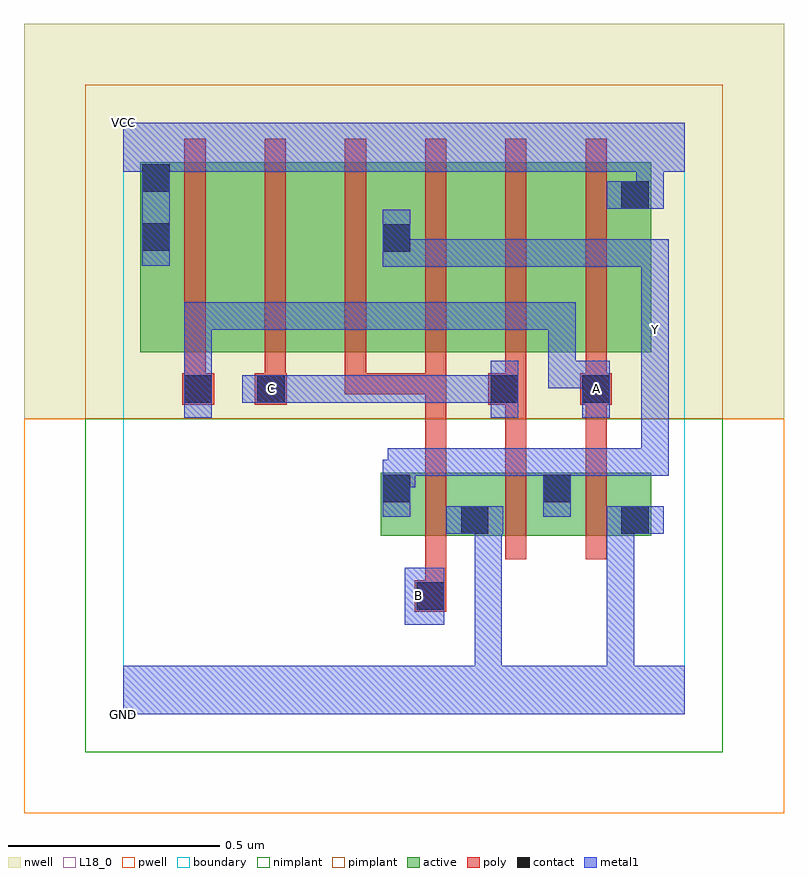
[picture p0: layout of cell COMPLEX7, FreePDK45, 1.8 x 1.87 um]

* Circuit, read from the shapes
.subckt COMPLEX7 A B C GND VCC Y
M1 GND B Y VSUBS nfet w=0.15u l=0.05u
M2 Y C GND VSUBS nfet w=0.15u l=0.05u
M3 GND A Y VSUBS nfet w=0.15u l=0.05u
M4 n1 A VCC n2 pfet w=0.45u l=0.05u
M5 n3 C n1 n2 pfet w=0.45u l=0.05u
M6 Y B n3 n2 pfet w=0.45u l=0.05u
M7 n4 B Y n2 pfet w=0.45u l=0.05u
M8 n5 C n4 n2 pfet w=0.45u l=0.05u
M9 VCC A n5 n2 pfet w=0.45u l=0.05u
.ends

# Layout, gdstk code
import gdstk
lib = gdstk.Library(unit=1e-6, precision=1e-09)
def R(c, l, rs):  # rectangles x0, y0, x1, y1
    for r in rs: c.add(gdstk.rectangle(r[:2], r[2:], *l))
def A(c, l, x, y, w, h, nx, ny, dx, dy):  # array of equal rectangles
    R(c, l, [(x+i*dx, y+j*dy, x+i*dx+w, y+j*dy+h) for i in range(nx) for j in range(ny)])
active = (1, 0)
pwell = (2, 0)
nwell = (3, 0)
nimplant = (4, 0)
pimplant = (5, 0)
poly = (9, 0)
contact = (10, 0)
metal1 = (11, 0)
L18_0 = (18, 0)
boundary = (235, 0)

complex7 = lib.new_cell('COMPLEX7')
R(complex7, active, [(0.61,0.422,0.685,0.572), (0.61,0.422,0.87,0.572), (0.795,0.422,1.065,0.572), (0.795,0.422,0.87,0.497), (0.99,0.422,1.065,0.572), (0.99,0.422,1.25,0.572), (1.175,0.422,1.25,0.572), (0.04,0.857,0.115,1.307), (0.04,0.857,0.265,1.307), (0.265,0.857,0.455,1.307), (0.455,0.857,0.685,1.307), (0.61,0.857,0.835,1.307), (0.61,0.857,0.685,1.2), (0.835,0.857,1.025,1.307), (1.025,0.857,1.25,1.307), (1.175,0.857,1.25,1.307)])
R(complex7, pwell, [(-0.235,-0.235,1.565,0.7)])
R(complex7, nwell, [(-0.235,0.7,1.565,1.635)])
R(complex7, nimplant, [(-0.09,-0.09,1.42,0.7)])
R(complex7, pimplant, [(-0.09,0.7,1.42,1.49)])
A(complex7, poly, 0.715, 0.367, 0.05, 0.26, 3, 1, 0.19, 0)
A(complex7, poly, 0.145, 0.757, 0.05, 0.095, 6, 1, 0.19, 0)
A(complex7, poly, 0.145, 0.802, 0.05, 0.56, 6, 1, 0.19, 0)
R(complex7, poly, [(0.69,0.242,0.765,0.317), (0.715,0.267,0.765,0.417), (0.715,0.577,0.765,0.807), (0.905,0.577,0.955,0.782), (1.095,0.577,1.145,0.782), (0.14,0.732,0.215,0.807), (0.312,0.732,0.387,0.807), (0.865,0.732,0.955,0.807), (1.082,0.732,1.157,0.807), (0.525,0.757,0.765,0.807), (0.525,0.757,0.575,0.807), (0.525,0.757,0.575,0.807), (0.525,0.757,0.575,0.807), (0.715,0.757,0.765,0.807)])
R(complex7, contact, [(0.695,0.247,0.76,0.312), (0.8,0.427,0.865,0.492), (1.18,0.427,1.245,0.492), (0.615,0.502,0.68,0.567), (0.995,0.502,1.06,0.567), (0.145,0.737,0.21,0.802), (0.317,0.737,0.382,0.802), (0.87,0.737,0.935,0.802), (1.087,0.737,1.152,0.802), (0.615,1.095,0.68,1.16), (0.045,1.097,0.11,1.162), (1.18,1.197,1.245,1.262), (0.045,1.237,0.11,1.302)])
R(complex7, metal1, [(0,0,1.33,0.115), (0.832,0.05,0.897,0.115), (0.832,0.05,0.897,0.115), (0.832,0.05,0.897,0.115), (0.832,0.05,0.897,0.115), (0.832,0.05,0.897,0.492), (1.145,0.05,1.21,0.492), (0.667,0.212,0.76,0.347), (0.765,0.427,0.9,0.492), (0.832,0.427,0.897,0.492), (0.832,0.427,0.897,0.492), (1.145,0.427,1.28,0.492), (1.145,0.427,1.21,0.492), (1.145,0.427,1.21,0.492), (1.145,0.427,1.21,0.492), (1.145,0.427,1.21,0.492), (1.145,0.427,1.21,0.492), (1.145,0.427,1.21,0.492), (0.615,0.467,0.68,0.602), (0.995,0.467,1.06,0.63), (0.615,0.537,0.692,0.602), (0.627,0.537,0.692,0.63), (0.627,0.565,0.922,0.63), (0.857,0.565,0.922,0.63), (0.857,0.565,0.922,0.63), (0.857,0.565,0.922,0.63), (0.857,0.565,1.06,0.63), (0.995,0.565,1.292,0.63), (1.227,0.565,1.292,0.63), (1.227,0.565,1.292,0.63), (1.227,0.565,1.292,0.63), (1.227,0.565,1.292,0.907), (0.145,0.702,0.21,0.837), (0.87,0.702,0.935,0.837), (1.087,0.702,1.152,0.837), (0.282,0.737,0.417,0.802), (0.352,0.737,0.417,0.802), (0.352,0.737,0.417,0.802), (0.352,0.737,0.555,0.802), (0.49,0.737,0.555,0.802), (0.49,0.737,0.692,0.802), (0.627,0.737,0.692,0.802), (0.627,0.737,0.692,0.802), (0.627,0.737,0.692,0.802), (0.627,0.737,0.83,0.802), (0.765,0.737,0.83,0.802), (0.765,0.737,0.935,0.802), (0.145,0.772,0.21,0.837), (0.145,0.772,0.21,0.837), (0.145,0.772,0.21,0.975), (1.007,0.772,1.072,0.837), (1.007,0.772,1.152,0.837), (1.007,0.772,1.072,0.975), (1.227,0.842,1.292,0.977), (0.145,0.91,0.21,0.975), (0.145,0.91,0.347,0.975), (0.282,0.91,0.347,0.975), (0.282,0.91,0.347,0.975), (0.282,0.91,0.347,0.975), (0.282,0.91,0.555,0.975), (0.49,0.91,0.555,0.975), (0.49,0.91,0.692,0.975), (0.627,0.91,0.692,0.975), (0.627,0.91,0.692,0.975), (0.627,0.91,0.692,0.975), (0.627,0.91,0.897,0.975), (0.832,0.91,0.897,0.975), (0.832,0.91,0.897,0.975), (0.832,0.91,0.897,0.975), (0.832,0.91,1.072,0.975), (1.007,0.91,1.072,0.975), (1.227,0.912,1.292,1.125), (0.615,1.06,0.68,1.195), (0.615,1.06,0.692,1.125), (0.627,1.06,0.692,1.125), (0.627,1.06,0.922,1.125), (0.857,1.06,0.922,1.125), (0.857,1.06,0.922,1.125), (0.857,1.06,0.922,1.125), (0.857,1.06,1.06,1.125), (0.995,1.06,1.06,1.125), (0.995,1.06,1.292,1.125), (1.227,1.06,1.292,1.125), (1.227,1.06,1.292,1.125), (1.227,1.06,1.292,1.125), (1.227,1.06,1.292,1.125), (1.227,1.06,1.292,1.125), (0.045,1.062,0.11,1.35), (1.145,1.197,1.28,1.262), (1.215,1.197,1.28,1.35), (0,1.285,1.33,1.4), (0.045,1.285,0.11,1.35)])
R(complex7, L18_0, [(0,0,1.33,0.115), (0.832,0.05,0.897,0.115), (0.832,0.05,0.897,0.115), (0.832,0.05,0.897,0.115), (0.832,0.05,0.897,0.115), (0.832,0.05,0.897,0.492), (1.145,0.05,1.21,0.492), (0.667,0.212,0.76,0.347), (0.667,0.247,0.732,0.312), (0.765,0.427,0.9,0.492), (0.832,0.427,0.897,0.492), (0.832,0.427,0.897,0.492), (1.145,0.427,1.21,0.492), (1.145,0.427,1.21,0.492), (1.145,0.427,1.21,0.492), (1.145,0.427,1.21,0.492), (1.145,0.427,1.21,0.492), (1.145,0.427,1.21,0.492), (1.145,0.427,1.28,0.492), (0.615,0.467,0.68,0.602), (0.995,0.467,1.06,0.63), (0.615,0.537,0.692,0.602), (0.627,0.537,0.692,0.63), (0.627,0.565,0.922,0.63), (0.857,0.565,0.922,0.63), (0.857,0.565,0.922,0.63), (0.857,0.565,0.922,0.63), (0.857,0.565,1.06,0.63), (0.995,0.565,1.292,0.63), (1.227,0.565,1.292,0.63), (1.227,0.565,1.292,0.63), (1.227,0.565,1.292,0.63), (1.227,0.565,1.292,0.907), (0.145,0.702,0.21,0.837), (0.87,0.702,0.935,0.837), (1.087,0.702,1.152,0.837), (0.282,0.737,0.417,0.802), (0.317,0.737,0.382,0.802), (0.352,0.737,0.417,0.802), (0.352,0.737,0.417,0.802), (0.352,0.737,0.555,0.802), (0.49,0.737,0.555,0.802), (0.49,0.737,0.692,0.802), (0.627,0.737,0.692,0.802), (0.627,0.737,0.692,0.802), (0.627,0.737,0.692,0.802), (0.627,0.737,0.83,0.802), (0.765,0.737,0.83,0.802), (0.765,0.737,0.935,0.802), (1.087,0.737,1.152,0.802), (0.145,0.772,0.21,0.837), (0.145,0.772,0.21,0.837), (0.145,0.772,0.21,0.975), (1.007,0.772,1.072,0.837), (1.007,0.772,1.072,0.975), (1.007,0.772,1.152,0.837), (1.227,0.842,1.292,0.977), (1.227,0.877,1.292,0.942), (0.145,0.91,0.21,0.975), (0.145,0.91,0.347,0.975), (0.282,0.91,0.347,0.975), (0.282,0.91,0.347,0.975), (0.282,0.91,0.347,0.975), (0.282,0.91,0.555,0.975), (0.49,0.91,0.555,0.975), (0.49,0.91,0.692,0.975), (0.627,0.91,0.692,0.975), (0.627,0.91,0.692,0.975), (0.627,0.91,0.692,0.975), (0.627,0.91,0.897,0.975), (0.832,0.91,0.897,0.975), (0.832,0.91,0.897,0.975), (0.832,0.91,0.897,0.975), (0.832,0.91,1.072,0.975), (1.007,0.91,1.072,0.975), (1.227,0.912,1.292,1.125), (0.615,1.06,0.68,1.195), (0.615,1.06,0.692,1.125), (0.627,1.06,0.692,1.125), (0.627,1.06,0.922,1.125), (0.857,1.06,0.922,1.125), (0.857,1.06,0.922,1.125), (0.857,1.06,0.922,1.125), (0.857,1.06,1.06,1.125), (0.995,1.06,1.06,1.125), (0.995,1.06,1.292,1.125), (1.227,1.06,1.292,1.125), (1.227,1.06,1.292,1.125), (1.227,1.06,1.292,1.125), (1.227,1.06,1.292,1.125), (1.227,1.06,1.292,1.125), (0.045,1.062,0.11,1.35), (1.145,1.197,1.28,1.262), (1.215,1.197,1.28,1.35), (0,1.285,1.33,1.4), (0.045,1.285,0.11,1.35)])
R(complex7, boundary, [(0,0,1.33,1.4)])
complex7.add(gdstk.Label('A', (1.12,0.77), layer=11, texttype=0))
complex7.add(gdstk.Label('B', (0.7,0.28), layer=11, texttype=0))
complex7.add(gdstk.Label('C', (0.35,0.77), layer=11, texttype=0))
complex7.add(gdstk.Label('Y', (1.26,0.91), layer=11, texttype=0))
complex7.add(gdstk.Label('VCC', (0,1.4), layer=11, texttype=0))
complex7.add(gdstk.Label('GND', (0,0), layer=11, texttype=0))

lib.write_gds('COMPLEX7.gds')
